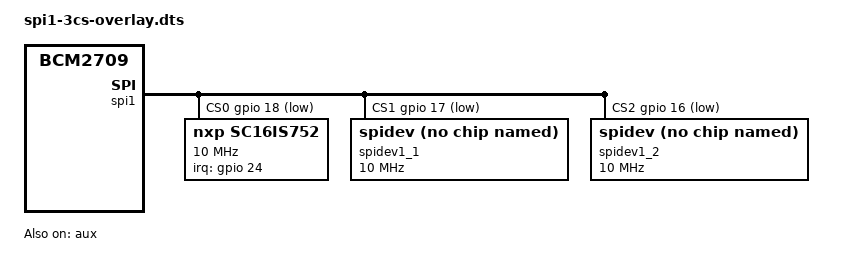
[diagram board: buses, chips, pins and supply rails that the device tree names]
/dts-v1/;
/plugin/;


/ {
	compatible = "brcm,bcm2835", "brcm,bcm2708", "brcm,bcm2709";

	fragment@0 {
		target = <&gpio>;
		__overlay__ {
			spi1_pins: spi1_pins {
				brcm,pins = <19 20 21>;
				brcm,function = <3>; /* alt4 */
			};

			spi1_cs_pins: spi1_cs_pins {
				brcm,pins = <18 17 16>;
				brcm,function = <1>; /* output */
			};

                        int_pins: int_pins@18 {
                                        brcm,pins = <24>;
                                        brcm,function = <0>; /* in */
                                        brcm,pull = <0>; /* none */
                        };

		};
	};

	fragment@1 {
		target = <&spi1>;
		frag1: __overlay__ {
			/* needed to avoid dtc warning */
			#address-cells = <1>;
			#size-cells = <0>;
			pinctrl-names = "default";
			pinctrl-0 = <&spi1_pins &spi1_cs_pins>;
			cs-gpios = <&gpio 18 1>, <&gpio 17 1>, <&gpio 16 1>;
			status = "okay";

	                sc16is752: sc16is752@0 {
				compatible = "nxp,sc16is752";
				reg = <0>; /* CE0 */
				clocks = <&sc16is752_clk>;
				interrupt-parent = <&gpio>;
				interrupts = <24 2>; /* IRQ_TYPE_EDGE_FALLING */
				pinctrl-0 = <&int_pins>;
				pinctrl-names = "default";
				gpio-controller;
				#gpio-cells = <2>;
				spi-max-frequency = <10000000>;
	                };


			spidev1_1: spidev@1 {
				compatible = "spidev";
				reg = <1>;      /* CE1 */
				#address-cells = <1>;
				#size-cells = <0>;
				spi-max-frequency = <10000000>;
				status = "okay";
			};

			spidev1_2: spidev@2 {
				compatible = "spidev";
				reg = <2>;      /* CE2 */
				#address-cells = <1>;
				#size-cells = <0>;
				spi-max-frequency = <10000000>;
				status = "okay";
			};
		};
	};

	fragment@2 {
		target = <&aux>;
		__overlay__ {
			status = "okay";
		};
	};

	fragment@3 {
                target-path = "/";
                __overlay__ {
		        sc16is752_clk: sc16is752_spi1_0_clk {
			        compatible = "fixed-clock";
			        #clock-cells = <0>;
			        clock-frequency = <14745600>;
			};
		};
	};


	__overrides__ {
		cs1_pin  = <&spi1_cs_pins>,"brcm,pins:4",
			   <&frag1>,"cs-gpios:16";
		cs2_pin  = <&spi1_cs_pins>,"brcm,pins:8",
			   <&frag1>,"cs-gpios:28";
		cs1_spidev = <&spidev1_1>,"status";
		cs2_spidev = <&spidev1_2>,"status";
	};
};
